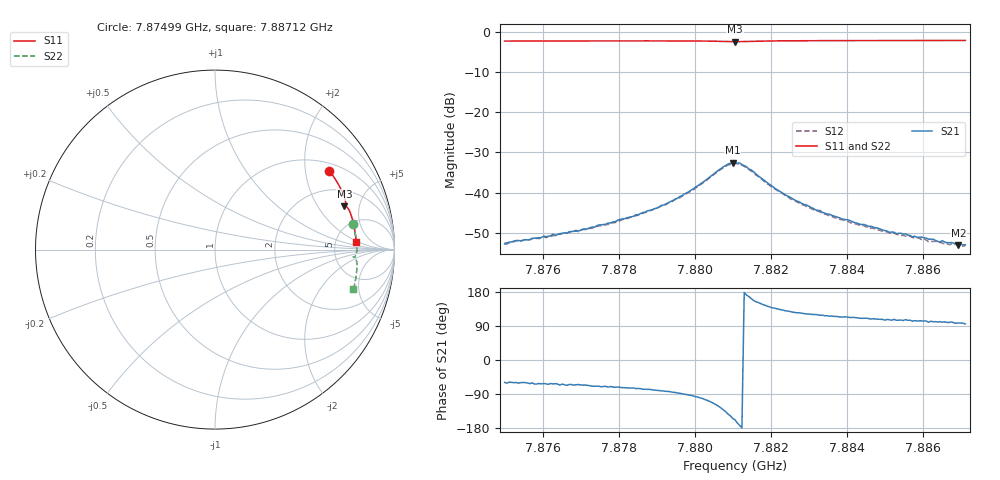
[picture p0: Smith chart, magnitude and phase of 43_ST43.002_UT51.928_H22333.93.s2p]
#  HZ  S  DB  R  50.00
! Rohde & Schwarz Vector Network Analyzer
! Rohde-Schwarz,ZNB20-2Port,1311601062101988,3.16
! Created: UTC 1/12/2023, 6:32:19 PM
! freq[Hz]  db:S11  ang:S11  db:S21  ang:S21  db:S12  ang:S12  db:S22  ang:S22
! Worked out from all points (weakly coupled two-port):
!   201 points, 7.87499 GHz to 7.88712 GHz, reference 50 ohm
!   highest |S21| = -32.55 dB at 7.881 GHz (marker M1); lowest = -53.1 dB at 7.88694 GHz (marker M2)
!   lowest |S11| = -2.4 dB at 7.88106 GHz (marker M3), VSWR 7.36, Z = 155 + j178 ohm
!   |S11| at or under -10 dB: nowhere
!   |S22| runs from -2.3 to -1.9 dB; largest |S21 - S12| = 0.0023
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7.874993e9  -2.23 34.5  -52.82 -59.2  -52.58 -62.5  -2.13 10.6
7.876085e9  -2.20 31.6  -51.03 -62.9  -51.26 -65.0  -2.10 8.0
7.877055e9  -2.19 28.9  -49.09 -66.3  -49.27 -71.5  -2.08 5.7
7.877904e9  -2.18 26.6  -47.27 -72.1  -47.49 -73.8  -2.06 3.7
7.879057e9  -2.17 23.4  -43.63 -80.4  -43.68 -83.9  -2.05 1.0
7.879602e9  -2.18 21.8  -41.01 -87.8  -41.32 -91.2  -2.05 -0.3
7.879966e9  -2.19 20.8  -39.06 -95.1  -39.25 -98.3  -2.06 -1.3
7.880755e9  -2.33 18.7  -33.55 -131.5  -33.79 -135.0  -2.19 -3.1
7.880997e9  -2.37 18.6  -32.55 -154.3  -32.81 -157.2  -2.25 -3.1
7.881058e9  -2.37 18.5  -32.61 -157.8  -32.77 -163.3  -2.25 -3.1
7.881179e9  -2.36 18.6  -32.61 -172.2  -32.95 -175.4  -2.25 -3.0
7.881361e9  -2.32 18.4  -33.57 171.3  -33.80 168.2  -2.19 -3.0
7.88215e9  -2.17 16.4  -39.22 135.5  -39.35 131.6  -2.03 -4.7
7.882514e9  -2.15 15.3  -41.20 127.7  -41.58 124.0  -2.00 -5.5
7.88312e9  -2.13 13.6  -43.97 120.1  -44.27 116.6  -1.98 -7.0
7.884091e9  -2.11 11.0  -47.02 112.1  -47.55 109.6  -1.95 -9.2
7.885122e9  -2.09 8.3  -49.94 106.2  -50.09 104.5  -1.94 -11.5
7.885546e9  -2.09 7.2  -50.34 106.6  -50.89 102.0  -1.93 -12.5
7.886456e9  -2.08 4.7  -52.34 101.1  -52.44 98.7  -1.92 -14.4
7.886517e9  -2.08 4.6  -52.00 99.9  -52.60 98.3  -1.92 -14.6
7.886941e9  -2.07 3.5  -53.13 97.7  -53.29 96.0  -1.92 -15.5
7.887123e9  -2.07 3.0  -53.02 95.0  -53.21 96.9  -1.92 -15.8
